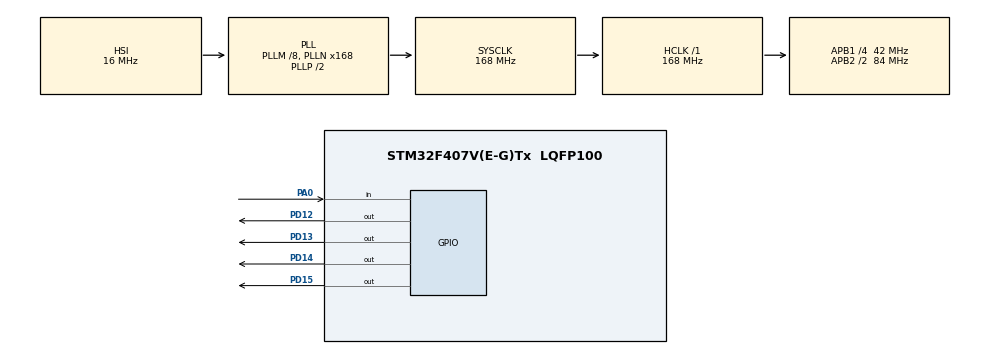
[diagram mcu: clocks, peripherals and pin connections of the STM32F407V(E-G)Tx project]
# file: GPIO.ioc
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Mcu.Family=STM32F4
Mcu.Name=STM32F407V(E-G)Tx
Mcu.Package=LQFP100
NVIC.PriorityGroup=NVIC_PRIORITYGROUP_4
PA0-WKUP.GPIO_PuPd=GPIO_PULLDOWN
PA0-WKUP.Signal=GPIO_Input
PD12.GPIO_ModeDefaultOutputPP=GPIO_MODE_OUTPUT_PP
PD12.GPIO_Speed=GPIO_SPEED_FREQ_LOW
PD12.PinState=GPIO_PIN_SET
PD12.Signal=GPIO_Output
PD13.GPIO_ModeDefaultOutputPP=GPIO_MODE_OUTPUT_PP
PD13.GPIO_Speed=GPIO_SPEED_FREQ_LOW
PD13.PinState=GPIO_PIN_SET
PD13.Signal=GPIO_Output
PD14.GPIO_ModeDefaultOutputPP=GPIO_MODE_OUTPUT_PP
PD14.GPIO_Speed=GPIO_SPEED_FREQ_LOW
PD14.PinState=GPIO_PIN_SET
PD14.Signal=GPIO_Output
PD15.GPIO_ModeDefaultOutputPP=GPIO_MODE_OUTPUT_PP
PD15.GPIO_Speed=GPIO_SPEED_FREQ_LOW
PD15.PinState=GPIO_PIN_SET
PD15.Signal=GPIO_Output
PH0-OSC_IN.Mode=HSE-External-Oscillator
PH0-OSC_IN.Signal=RCC_OSC_IN
PH1-OSC_OUT.Mode=HSE-External-Oscillator
PH1-OSC_OUT.Signal=RCC_OSC_OUT
ProjectManager.HeapSize=0x200
ProjectManager.StackSize=0x400
ProjectManager.TargetToolchain=MDK-ARM V5
RCC.48MHZClocksFreq_Value=84000000
RCC.AHBFreq_Value=168000000
RCC.APB1CLKDivider=RCC_HCLK_DIV4
RCC.APB1Freq_Value=42000000
RCC.APB1TimFreq_Value=84000000
RCC.APB2CLKDivider=RCC_HCLK_DIV2
RCC.APB2Freq_Value=84000000
RCC.APB2TimFreq_Value=168000000
RCC.CortexFreq_Value=168000000
RCC.HCLKFreq_Value=168000000
RCC.HSE_VALUE=8000000
RCC.HSI_VALUE=16000000
RCC.LSE_VALUE=32768
RCC.PLLM=8
RCC.PLLN=168
RCC.SYSCLKFreq_VALUE=168000000
RCC.SYSCLKSource=RCC_SYSCLKSOURCE_PLLCLK
RCC.VCOOutputFreq_Value=336000000
board=custom

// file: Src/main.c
/**
  ******************************************************************************
  * @file           : main.c
  * @brief          : Main program body
  ******************************************************************************
  ** This notice applies to any and all portions of this file
  * that are not between comment pairs USER CODE BEGIN and
  * USER CODE END. Other portions of this file, whether
  * inserted by the user or by software development tools
  * are owned by their respective copyright owners.
  *
  * COPYRIGHT(c) 2018 STMicroelectronics
  *
  * Redistribution and use in source and binary forms, with or without modification,
  * are permitted provided that the following conditions are met:
  *   1. Redistributions of source code must retain the above copyright notice,
  *      this list of conditions and the following disclaimer.
  *   2. Redistributions in binary form must reproduce the above copyright notice,
  *      this list of conditions and the following disclaimer in the documentation
  *      and/or other materials provided with the distribution.
  *   3. Neither the name of STMicroelectronics nor the names of its contributors
  *      may be used to endorse or promote products derived from this software
  *      without specific prior written permission.
  *
  * THIS SOFTWARE IS PROVIDED BY THE COPYRIGHT HOLDERS AND CONTRIBUTORS "AS IS"
  * AND ANY EXPRESS OR IMPLIED WARRANTIES, INCLUDING, BUT NOT LIMITED TO, THE
  * IMPLIED WARRANTIES OF MERCHANTABILITY AND FITNESS FOR A PARTICULAR PURPOSE ARE
  * DISCLAIMED. IN NO EVENT SHALL THE COPYRIGHT HOLDER OR CONTRIBUTORS BE LIABLE
  * FOR ANY DIRECT, INDIRECT, INCIDENTAL, SPECIAL, EXEMPLARY, OR CONSEQUENTIAL
  * DAMAGES (INCLUDING, BUT NOT LIMITED TO, PROCUREMENT OF SUBSTITUTE GOODS OR
  * SERVICES; LOSS OF USE, DATA, OR PROFITS; OR BUSINESS INTERRUPTION) HOWEVER
  * CAUSED AND ON ANY THEORY OF LIABILITY, WHETHER IN CONTRACT, STRICT LIABILITY,
  * OR TORT (INCLUDING NEGLIGENCE OR OTHERWISE) ARISING IN ANY WAY OUT OF THE USE
  * OF THIS SOFTWARE, EVEN IF ADVISED OF THE POSSIBILITY OF SUCH DAMAGE.
  *
  ******************************************************************************
  */
#include "main.h"
#include "stm32f4xx_hal.h"

/* USER CODE BEGIN Includes */
	/*
		Discovery üzerindeki butonu kontrol eder ve buton duurmuna göre ledleri yakar
	*/
/* USER CODE END Includes */

/* USER CODE BEGIN PV */
/* Private variables ---------------------------------------------------------*/

/* USER CODE END PV */

void SystemClock_Config(void);
static void MX_GPIO_Init(void);

/* USER CODE BEGIN PFP */
/* Private function prototypes -----------------------------------------------*/

/* USER CODE END PFP */

int main(void)
{
  /* USER CODE BEGIN 1 */
		int counter = 0, clockwise = 0;

  /* USER CODE END 1 */

  /* MCU Configuration----------------------------------------------------------*/

  /* Reset of all peripherals, Initializes the Flash interface and the Systick. */
  HAL_Init();

  /* Configure the system clock */
  SystemClock_Config();

  /* Initialize all configured peripherals */
  MX_GPIO_Init();

  /* Infinite loop */
  while (1)
  {

  /* USER CODE BEGIN 3 */
		if(HAL_GPIO_ReadPin(GPIOA,GPIO_PIN_0))	//Discovery üzerindeki buton durumu kontrol ediliyor
		{
			if(clockwise == 0)
			{

				if(counter == 0)
				{
					HAL_GPIO_WritePin(GPIOD, 	GPIO_PIN_12, GPIO_PIN_SET);
					HAL_GPIO_WritePin(GPIOD, 	GPIO_PIN_13|GPIO_PIN_14|GPIO_PIN_15, GPIO_PIN_RESET);

				}
				else if(counter == 1)
				{
					HAL_GPIO_WritePin(GPIOD, 	GPIO_PIN_12|GPIO_PIN_13, GPIO_PIN_SET);
					HAL_GPIO_WritePin(GPIOD,	GPIO_PIN_14|GPIO_PIN_15, GPIO_PIN_RESET);

				}
				else if(counter == 2)
				{
					HAL_GPIO_WritePin(GPIOD, 	GPIO_PIN_12|GPIO_PIN_13|GPIO_PIN_14, GPIO_PIN_SET);
					HAL_GPIO_WritePin(GPIOD, 	GPIO_PIN_15, GPIO_PIN_RESET);

				}
				else if(counter == 3)
				{
					HAL_GPIO_WritePin(GPIOD, GPIO_PIN_12|GPIO_PIN_13|GPIO_PIN_14|GPIO_PIN_15, GPIO_PIN_SET);
					counter = -1;
					clockwise = 1;
				}
				counter++;
			}
			else
			{

				if(counter == 0)
				{
					HAL_GPIO_WritePin(GPIOD, 	GPIO_PIN_15, GPIO_PIN_RESET);
					HAL_GPIO_WritePin(GPIOD, 	GPIO_PIN_12|GPIO_PIN_13|GPIO_PIN_14, GPIO_PIN_SET);

				}
				else if(counter == 1)
				{
					HAL_GPIO_WritePin(GPIOD, 	GPIO_PIN_14|GPIO_PIN_15, GPIO_PIN_RESET);
					HAL_GPIO_WritePin(GPIOD,	GPIO_PIN_12|GPIO_PIN_13, GPIO_PIN_SET);

				}
				else if(counter == 2)
				{
					HAL_GPIO_WritePin(GPIOD, 	GPIO_PIN_13|GPIO_PIN_14|GPIO_PIN_15, GPIO_PIN_RESET);
					HAL_GPIO_WritePin(GPIOD, 	GPIO_PIN_12, GPIO_PIN_SET);

				}
				else if(counter == 3)
				{
					HAL_GPIO_WritePin(GPIOD, GPIO_PIN_12|GPIO_PIN_13|GPIO_PIN_14|GPIO_PIN_15, GPIO_PIN_RESET);
					counter = -1;
					clockwise = 0;
				}
				counter++;
			}
		}

			HAL_Delay(300);

  }
  /* USER CODE END 3 */

}

void SystemClock_Config(void)
{

  RCC_OscInitTypeDef RCC_OscInitStruct;
  RCC_ClkInitTypeDef RCC_ClkInitStruct;

    /**Configure the main internal regulator output voltage
    */
  __HAL_RCC_PWR_CLK_ENABLE();

  __HAL_PWR_VOLTAGESCALING_CONFIG(PWR_REGULATOR_VOLTAGE_SCALE1);

    /**Initializes the CPU, AHB and APB busses clocks
    */
  RCC_OscInitStruct.OscillatorType = RCC_OSCILLATORTYPE_HSI;
  RCC_OscInitStruct.HSIState = RCC_HSI_ON;
  RCC_OscInitStruct.HSICalibrationValue = 16;
  RCC_OscInitStruct.PLL.PLLState = RCC_PLL_ON;
  RCC_OscInitStruct.PLL.PLLSource = RCC_PLLSOURCE_HSI;
  RCC_OscInitStruct.PLL.PLLM = 8;
  RCC_OscInitStruct.PLL.PLLN = 168;
  RCC_OscInitStruct.PLL.PLLP = RCC_PLLP_DIV2;
  RCC_OscInitStruct.PLL.PLLQ = 4;
  if (HAL_RCC_OscConfig(&RCC_OscInitStruct) != HAL_OK)
  {
    _Error_Handler(__FILE__, __LINE__);
  }

    /**Initializes the CPU, AHB and APB busses clocks
    */
  RCC_ClkInitStruct.ClockType = RCC_CLOCKTYPE_HCLK|RCC_CLOCKTYPE_SYSCLK
                              |RCC_CLOCKTYPE_PCLK1|RCC_CLOCKTYPE_PCLK2;
  RCC_ClkInitStruct.SYSCLKSource = RCC_SYSCLKSOURCE_PLLCLK;
  RCC_ClkInitStruct.AHBCLKDivider = RCC_SYSCLK_DIV1;
  RCC_ClkInitStruct.APB1CLKDivider = RCC_HCLK_DIV4;
  RCC_ClkInitStruct.APB2CLKDivider = RCC_HCLK_DIV2;

  if (HAL_RCC_ClockConfig(&RCC_ClkInitStruct, FLASH_LATENCY_5) != HAL_OK)
  {
    _Error_Handler(__FILE__, __LINE__);
  }

    /**Configure the Systick interrupt time
    */
  HAL_SYSTICK_Config(HAL_RCC_GetHCLKFreq()/1000);

    /**Configure the Systick
    */
  HAL_SYSTICK_CLKSourceConfig(SYSTICK_CLKSOURCE_HCLK);

  /* SysTick_IRQn interrupt configuration */
  HAL_NVIC_SetPriority(SysTick_IRQn, 0, 0);
}

/** Configure pins as
        * Analog
        * Input
        * Output
        * EVENT_OUT
        * EXTI
*/
static void MX_GPIO_Init(void)
{

  GPIO_InitTypeDef GPIO_InitStruct;

  /* GPIO Ports Clock Enable */
  __HAL_RCC_GPIOH_CLK_ENABLE();
  __HAL_RCC_GPIOA_CLK_ENABLE();
  __HAL_RCC_GPIOD_CLK_ENABLE();

  /*Configure GPIO pin Output Level */
  HAL_GPIO_WritePin(GPIOD, GPIO_PIN_12|GPIO_PIN_13|GPIO_PIN_14|GPIO_PIN_15, GPIO_PIN_RESET);

  /*Configure GPIO pin : PA0 */
  GPIO_InitStruct.Pin = GPIO_PIN_0;
  GPIO_InitStruct.Mode = GPIO_MODE_INPUT;
  GPIO_InitStruct.Pull = GPIO_PULLDOWN;
  HAL_GPIO_Init(GPIOA, &GPIO_InitStruct);

  /*Configure GPIO pins : PD12 PD13 PD14 PD15 */
  GPIO_InitStruct.Pin = GPIO_PIN_12|GPIO_PIN_13|GPIO_PIN_14|GPIO_PIN_15;
  GPIO_InitStruct.Mode = GPIO_MODE_OUTPUT_PP;
  GPIO_InitStruct.Pull = GPIO_NOPULL;
  GPIO_InitStruct.Speed = GPIO_SPEED_FREQ_LOW;
  HAL_GPIO_Init(GPIOD, &GPIO_InitStruct);

}

void _Error_Handler(char *file, int line)
{
  while(1)
  {
  }
}

/************************ (C) COPYRIGHT STMicroelectronics *****END OF FILE****/
